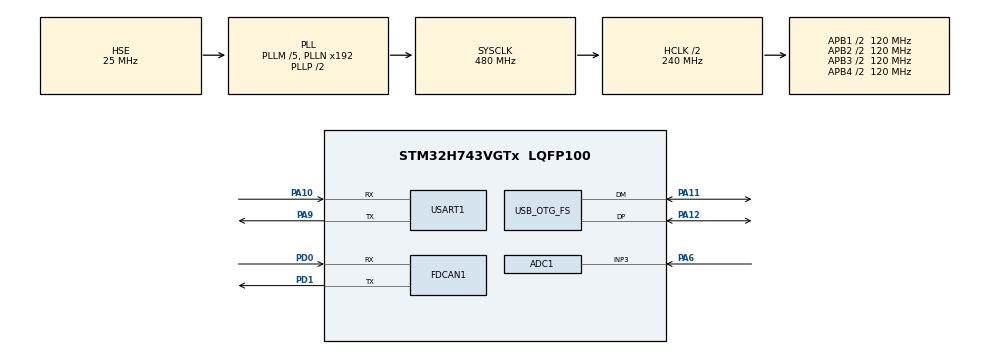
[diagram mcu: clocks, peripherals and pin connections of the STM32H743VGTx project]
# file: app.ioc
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ADC1.Channel-0\#ChannelRegularConversion=ADC_CHANNEL_3
ADC1.ClockPrescaler=ADC_CLOCK_ASYNC_DIV32
ADC1.ContinuousConvMode=DISABLE
ADC1.ConversionDataManagement=ADC_CONVERSIONDATA_DR
ADC1.EOCSelection=ADC_EOC_SINGLE_CONV
ADC1.NbrOfConversionFlag=1
ADC1.OffsetNumber-0\#ChannelRegularConversion=ADC_OFFSET_NONE
ADC1.OffsetSignedSaturation-0\#ChannelRegularConversion=DISABLE
ADC1.Overrun=ADC_OVR_DATA_PRESERVED
ADC1.Rank-0\#ChannelRegularConversion=1
ADC1.Resolution=ADC_RESOLUTION_12B_OPT
ADC1.SamplingTime-0\#ChannelRegularConversion=ADC_SAMPLETIME_387CYCLES_5
ADC1.master=1
CORTEX_M7.default_mode_Activation=1
FDCAN1.CalculateBaudRateNominal=500000
FDCAN1.CalculateTimeBitNominal=2000
FDCAN1.CalculateTimeQuantumNominal=62.5
FDCAN1.DataPrescaler=4
FDCAN1.DataTimeSeg1=23
FDCAN1.DataTimeSeg2=8
FDCAN1.Mode=FDCAN_MODE_NORMAL
FDCAN1.NominalPrescaler=4
FDCAN1.NominalTimeSeg1=23
FDCAN1.NominalTimeSeg2=8
FDCAN1.RxFifo0ElmtsNbr=3
FDCAN1.StdFiltersNbr=1
FDCAN1.TxFifoQueueElmtsNbr=3
Mcu.Family=STM32H7
Mcu.Name=STM32H743VGTx
Mcu.Package=LQFP100
NVIC.FDCAN1_IT0_IRQn=true\:2\:0\:true\:false\:true\:true\:true\:true
NVIC.OTG_FS_IRQn=true\:7\:0\:true\:false\:true\:false\:true\:true
NVIC.PriorityGroup=NVIC_PRIORITYGROUP_4
NVIC.TIM17_IRQn=true\:3\:0\:true\:false\:true\:false\:true\:true
NVIC.TimeBase=TIM17_IRQn
NVIC.TimeBaseIP=TIM17
NVIC.USART1_IRQn=true\:5\:0\:true\:false\:true\:true\:true\:true
PA10.Mode=Asynchronous
PA10.Signal=USART1_RX
PA11.Mode=Device_Only
PA11.Signal=USB_OTG_FS_DM
PA12.Mode=Device_Only
PA12.Signal=USB_OTG_FS_DP
PA6.Signal=ADCx_INP3
PA9.Mode=Asynchronous
PA9.Signal=USART1_TX
PD0.Mode=FDCAN_Activate
PD0.Signal=FDCAN1_RX
PD1.Mode=FDCAN_Activate
PD1.Signal=FDCAN1_TX
PH0-OSC_IN\ (PH0).Mode=HSE-External-Oscillator
PH0-OSC_IN\ (PH0).Signal=RCC_OSC_IN
PH1-OSC_OUT\ (PH1).Mode=HSE-External-Oscillator
PH1-OSC_OUT\ (PH1).Signal=RCC_OSC_OUT
ProjectManager.HeapSize=0x600
ProjectManager.StackSize=0x1000
ProjectManager.TargetToolchain=CMake
RCC.ADCFreq_Value=75000000
RCC.APB1Freq_Value=120000000
RCC.APB2Freq_Value=120000000
RCC.APB3Freq_Value=120000000
RCC.APB4Freq_Value=120000000
RCC.CortexFreq_Value=480000000
RCC.D1PPRE=RCC_APB3_DIV2
RCC.D2PPRE1=RCC_APB1_DIV2
RCC.D2PPRE2=RCC_APB2_DIV2
RCC.D3PPRE=RCC_APB4_DIV2
RCC.DIVM1=5
RCC.DIVM2=2
RCC.DIVN1=192
RCC.DIVN2=12
RCC.DIVQ1=15
RCC.HCLKFreq_Value=240000000
RCC.HPRE=RCC_HCLK_DIV2
RCC.PLL2FRACN=0
RCC.PLLFRACN=0
RCC.PLLSourceVirtual=RCC_PLLSOURCE_HSE
RCC.SYSCLKFreq_VALUE=480000000
RCC.SYSCLKSource=RCC_SYSCLKSOURCE_PLLCLK
RCC.USBCLockSelection=RCC_USBCLKSOURCE_HSI48
RCC.USBFreq_Value=48000000
SH.ADCx_INP3.0=ADC1_INP3,IN3-Single-Ended
TIM2.AutoReloadPreload=TIM_AUTORELOAD_PRELOAD_ENABLE
TIM2.Period=0xFFFFFFFF
TIM2.Prescaler=239
USART1.VirtualMode-Asynchronous=VM_ASYNC
USB_DEVICE.CLASS_NAME_FS=CDC
USB_DEVICE.VirtualMode-CDC_FS=Cdc
USB_DEVICE.VirtualModeFS=Cdc_FS
USB_OTG_FS.VirtualMode=Device_Only
VP_MEMORYMAP_VS_MEMORYMAP.Mode=CurAppReg
VP_SYS_VS_tim17.Mode=TIM17
VP_TIM2_VS_ClockSourceINT.Mode=Internal
VP_USB_DEVICE_VS_USB_DEVICE_CDC_FS.Mode=CDC_FS
board=custom

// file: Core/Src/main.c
/* USER CODE BEGIN Header */
/**
 ******************************************************************************
 * @file           : main.c
 * @brief          : Main program body
 ******************************************************************************
 * @attention
 *
 * Copyright (c) 2026 STMicroelectronics.
 * All rights reserved.
 *
 * This software is licensed under terms that can be found in the LICENSE file
 * in the root directory of this software component.
 * If no LICENSE file comes with this software, it is provided AS-IS.
 *
 ******************************************************************************
 */
/* USER CODE END Header */
#include "main.h"
#include "adc.h"
#include "fdcan.h"
#include "memorymap.h"
#include "tim.h"
#include "usart.h"
#include "usb_device.h"
#include "gpio.h"

/* USER CODE BEGIN Includes */
#include <stdint.h>
#include "FreeRTOS.h"
#include "task.h"
#include "bsp_base_param.h"
#include "register_task.h"
#include "printf.h"
#include "bsp_queue.h"
#include "bsp_can_frame.h"
/* USER CODE END Includes */

/* USER CODE BEGIN PV */
extern const task_item_t __tasks_start;
extern const task_item_t __tasks_end;
/* USER CODE END PV */

void SystemClock_Config(void);
static void MPU_Config(void);

/* USER CODE BEGIN 0 */

uint32_t ulGetRunTimeCounter(void)
{
    return (uint32_t)TIM2->CNT;
}
void vApplicationStackOverflowHook(TaskHandle_t xTask, char *pcTaskName)
{
  while (1)
  {
  }
}

void configureTimerForRunTimeStats(void)
{
}
/* USER CODE END 0 */

int main(void)
{

  /* MPU Configuration--------------------------------------------------------*/
  MPU_Config();

  /* MCU Configuration--------------------------------------------------------*/

  /* Reset of all peripherals, Initializes the Flash interface and the Systick. */
  HAL_Init();

  /* Configure the system clock */
  SystemClock_Config();

  /* Initialize all configured peripherals */
  MX_GPIO_Init();
  MX_ADC1_Init();
  MX_USART1_UART_Init();
  MX_USB_DEVICE_Init();
  MX_TIM2_Init();
  MX_FDCAN1_Init();
  /* USER CODE BEGIN 2 */
  bsp_stream_buffer_init();
  bsp_event_group_init();

  LL_TIM_EnableCounter(TIM2);
  LL_USART_EnableIT_RXNE_RXFNE(USART1);

  // xTaskCreate(&vtask1,"task1",128,NULL,1,NULL);
  bsp_base_param_init();
  HAL_ADCEx_Calibration_Start(&hadc1, ADC_CALIB_OFFSET, ADC_SINGLE_ENDED);
  HAL_Delay(100);
  HAL_ADC_Start(&hadc1);

  FDCAN_FilterTypeDef f = {0};
  f.IdType       = FDCAN_STANDARD_ID;
  f.FilterIndex  = 0;
  f.FilterType   = FDCAN_FILTER_MASK;
  f.FilterConfig = FDCAN_FILTER_TO_RXFIFO0;
  f.FilterID1    = 0x000;
  f.FilterID2    = 0x000;
  HAL_FDCAN_Init(&hfdcan1);
  HAL_FDCAN_ConfigFilter(&hfdcan1, &f);
  HAL_FDCAN_ActivateNotification(&hfdcan1, FDCAN_IT_RX_FIFO0_NEW_MESSAGE, 0);
  HAL_FDCAN_Start(&hfdcan1);

  queue_create_all();
  for (const task_item_t *task = &__tasks_start; task < &__tasks_end; ++task)
  {
    xTaskCreate(task->func_, task->name_, task->stack_size_, NULL, task->priority_, NULL);
  }
  // xTaskCreate(&vReadLiquidTask, "Liquid", 128, NULL, 2, NULL);
  // xTaskCreate(&vCLITask, "CLI", 330, NULL, 3, NULL);
  // xTaskCreate(&vGetAllStacksTask, "GetAllStacks", 512, NULL, 3, NULL);
  // xTaskCreate(&vUARTUnpackTask, "UART", 64, NULL, 4, NULL);

  vTaskStartScheduler();
  /* USER CODE END 2 */

  /* Infinite loop */
  /* USER CODE BEGIN WHILE */
  while (1)
  {
    // ConfigParam temp = bsp_get_param();
    // printf("%d",temp.liquid_level_refference);
    /* USER CODE END WHILE */

  }
}

void SystemClock_Config(void)
{
  RCC_OscInitTypeDef RCC_OscInitStruct = {0};
  RCC_ClkInitTypeDef RCC_ClkInitStruct = {0};

  /** Supply configuration update enable
  */
  HAL_PWREx_ConfigSupply(PWR_LDO_SUPPLY);

  /** Configure the main internal regulator output voltage
  */
  __HAL_PWR_VOLTAGESCALING_CONFIG(PWR_REGULATOR_VOLTAGE_SCALE0);

  while(!__HAL_PWR_GET_FLAG(PWR_FLAG_VOSRDY)) {}

  /** Initializes the RCC Oscillators according to the specified parameters
  * in the RCC_OscInitTypeDef structure.
  */
  RCC_OscInitStruct.OscillatorType = RCC_OSCILLATORTYPE_HSI48|RCC_OSCILLATORTYPE_HSE;
  RCC_OscInitStruct.HSEState = RCC_HSE_ON;
  RCC_OscInitStruct.HSI48State = RCC_HSI48_ON;
  RCC_OscInitStruct.PLL.PLLState = RCC_PLL_ON;
  RCC_OscInitStruct.PLL.PLLSource = RCC_PLLSOURCE_HSE;
  RCC_OscInitStruct.PLL.PLLM = 5;
  RCC_OscInitStruct.PLL.PLLN = 192;
  RCC_OscInitStruct.PLL.PLLP = 2;
  RCC_OscInitStruct.PLL.PLLQ = 15;
  RCC_OscInitStruct.PLL.PLLR = 2;
  RCC_OscInitStruct.PLL.PLLRGE = RCC_PLL1VCIRANGE_2;
  RCC_OscInitStruct.PLL.PLLVCOSEL = RCC_PLL1VCOWIDE;
  RCC_OscInitStruct.PLL.PLLFRACN = 0;
  if (HAL_RCC_OscConfig(&RCC_OscInitStruct) != HAL_OK)
  {
    Error_Handler();
  }

  /** Initializes the CPU, AHB and APB buses clocks
  */
  RCC_ClkInitStruct.ClockType = RCC_CLOCKTYPE_HCLK|RCC_CLOCKTYPE_SYSCLK
                              |RCC_CLOCKTYPE_PCLK1|RCC_CLOCKTYPE_PCLK2
                              |RCC_CLOCKTYPE_D3PCLK1|RCC_CLOCKTYPE_D1PCLK1;
  RCC_ClkInitStruct.SYSCLKSource = RCC_SYSCLKSOURCE_PLLCLK;
  RCC_ClkInitStruct.SYSCLKDivider = RCC_SYSCLK_DIV1;
  RCC_ClkInitStruct.AHBCLKDivider = RCC_HCLK_DIV2;
  RCC_ClkInitStruct.APB3CLKDivider = RCC_APB3_DIV2;
  RCC_ClkInitStruct.APB1CLKDivider = RCC_APB1_DIV2;
  RCC_ClkInitStruct.APB2CLKDivider = RCC_APB2_DIV2;
  RCC_ClkInitStruct.APB4CLKDivider = RCC_APB4_DIV2;

  if (HAL_RCC_ClockConfig(&RCC_ClkInitStruct, FLASH_LATENCY_4) != HAL_OK)
  {
    Error_Handler();
  }
}

/* USER CODE BEGIN 4 */
void HAL_FDCAN_RxFifo0Callback(FDCAN_HandleTypeDef *hfdcan, uint32_t RxFifo0ITs)
{
  BaseType_t xHigherPriorityTaskWoken = pdFALSE;
    if (RxFifo0ITs & FDCAN_IT_RX_FIFO0_NEW_MESSAGE) {
        FDCAN_RxHeaderTypeDef rx;
        uint8_t buf[8];
        while (HAL_FDCAN_GetRxFifoFillLevel(hfdcan, FDCAN_RX_FIFO0) > 0) {
          HAL_FDCAN_GetRxMessage(hfdcan, FDCAN_RX_FIFO0, &rx, buf);
          can_receive_frame frame;
          frame.can_head = rx;
          memcpy(frame.data,buf,sizeof(frame.data));
          QueueHandle_t can_queue = queue_get_handle("can_rx");
          xQueueSendFromISR(can_queue, &frame, &xHigherPriorityTaskWoken);
          // printf("%x",rx.Identifier);
          // printf("%d",frame.data[0]);
        }
        HAL_FDCAN_ActivateNotification(hfdcan, FDCAN_IT_RX_FIFO0_NEW_MESSAGE, 0);
      }
    portYIELD_FROM_ISR(xHigherPriorityTaskWoken);
}
/* USER CODE END 4 */

 /* MPU Configuration */

void MPU_Config(void)
{
  MPU_Region_InitTypeDef MPU_InitStruct = {0};

  /* Disables the MPU */
  HAL_MPU_Disable();

  /** Initializes and configures the Region and the memory to be protected
  */
  MPU_InitStruct.Enable = MPU_REGION_ENABLE;
  MPU_InitStruct.Number = MPU_REGION_NUMBER0;
  MPU_InitStruct.BaseAddress = 0x0;
  MPU_InitStruct.Size = MPU_REGION_SIZE_4GB;
  MPU_InitStruct.SubRegionDisable = 0x87;
  MPU_InitStruct.TypeExtField = MPU_TEX_LEVEL0;
  MPU_InitStruct.AccessPermission = MPU_REGION_NO_ACCESS;
  MPU_InitStruct.DisableExec = MPU_INSTRUCTION_ACCESS_DISABLE;
  MPU_InitStruct.IsShareable = MPU_ACCESS_SHAREABLE;
  MPU_InitStruct.IsCacheable = MPU_ACCESS_NOT_CACHEABLE;
  MPU_InitStruct.IsBufferable = MPU_ACCESS_NOT_BUFFERABLE;

  HAL_MPU_ConfigRegion(&MPU_InitStruct);
  /* Enables the MPU */
  HAL_MPU_Enable(MPU_PRIVILEGED_DEFAULT);

}

void HAL_TIM_PeriodElapsedCallback(TIM_HandleTypeDef *htim)
{
  if (htim->Instance == TIM17) {
    HAL_IncTick();
  }
}

void Error_Handler(void)
{
  __disable_irq();
  while (1)
  {
  }
}
